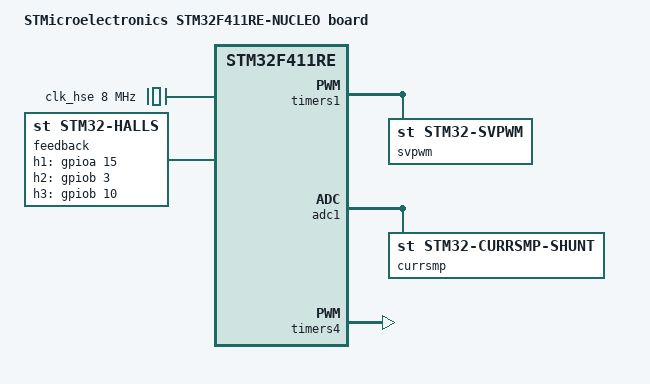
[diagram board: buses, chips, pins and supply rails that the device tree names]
/*
 * Copyright (c) 2021 Teslabs Engineering S.L.
 *
 * SPDX-License-Identifier: Apache-2.0
 */

 /dts-v1/;
 #include <st/f4/stm32f411Xe.dtsi>
 #include <st/f4/stm32f411r(c-e)tx-pinctrl.dtsi>
 //#include <dts-bindings/adc/stm32f4xx.h>
 
 / {
    model = "STMicroelectronics STM32F411RE-NUCLEO board";
	compatible = "st,stm32f411re-nucleo";
 
	chosen {
		zephyr,console = &usart2;
		zephyr,shell-uart = &usart2;
		zephyr,sram = &sram0;
		zephyr,flash = &flash0;
	};
 };
 
 &clk_hse {
	hse-bypass;
	clock-frequency = <DT_FREQ_M(8)>; /* STLink 8MHz clock */
	status = "okay";
};
 
&pll {
	div-m = <8>;
	mul-n = <384>;
	div-p = <4>;
	div-q = <8>;
	clocks = <&clk_hse>;
	status = "okay";
};
 
&rcc {
	clocks = <&pll>;
	clock-frequency = <DT_FREQ_M(96)>;
	ahb-prescaler = <1>;
	apb1-prescaler = <2>;
	apb2-prescaler = <1>;
};
 
 &gpioc {
     status = "okay";
 };
 
 &timers1 {
     svpwm: svpwm {
         compatible = "st,stm32-svpwm";
         status = "okay";
         //st,prescaler = < 1 >;
         pinctrl-0 = <&tim1_ch1_pa8 &tim1_ch2_pa9 &tim1_ch3_pa10 &tim1_ocp_pa11>;
         pinctrl-names = "default";
         currsmp = <&currsmp>;
         driver {
             compatible = "st,stspin830";
             enable-gpios = <&gpiob 13 GPIO_ACTIVE_HIGH>,
                        <&gpiob 14 GPIO_ACTIVE_HIGH>,
                        <&gpiob 15 GPIO_ACTIVE_HIGH>;
         };
     };
 };
 
 &adc1 {
     currsmp: currsmp {
         compatible = "st,stm32-currsmp-shunt";
         pinctrl-0 = <&adc1_in1_pa1 &adc1_in12_pc2 &adc1_in15_pc5>;
         pinctrl-names = "default";
 
         adc-resolution = <12>;
         adc-tsample = <3>;
         adc-channels = <1 12 15>;
         //adc-trigger = <LL_ADC_INJ_TRIG_EXT_TIM1_TRGO>;
         adc-trigger = <((1<<16) | (1>>20))>;
     };
 };
 
 &timers2 {
     feedback: feedback {
         compatible = "st,stm32-halls";
 
         pinctrl-0 = <&tim2_ch1_pa15 &tim2_ch2_pb3 &tim2_ch3_pb10>;
         pinctrl-names = "default";
 
         h1-gpios = <&gpioa 15 0>;
         h2-gpios = <&gpiob 3 0>;
         h3-gpios = <&gpiob 10 0>;
         phase-shift = <60>;
     };
 };
 
 &timers4 {
    status = "okay";
    st,prescaler = < 10 >;
    pwm4: pwm4 {
        compatible = "st,stm32-pwm";
        status = "okay";
        pinctrl-0 = <&tim4_ch1_pb6>;
        pinctrl-names = "default";
        #pwm-cells = < 3 >;
    };
};

 /* FIXME: missing upstream */
 &pinctrl {
     tim1_ocp_pa11: tim1_ocp_pa11 {
         pinmux = <STM32_PINMUX('A', 11, AF12)>;
     };
 };
 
